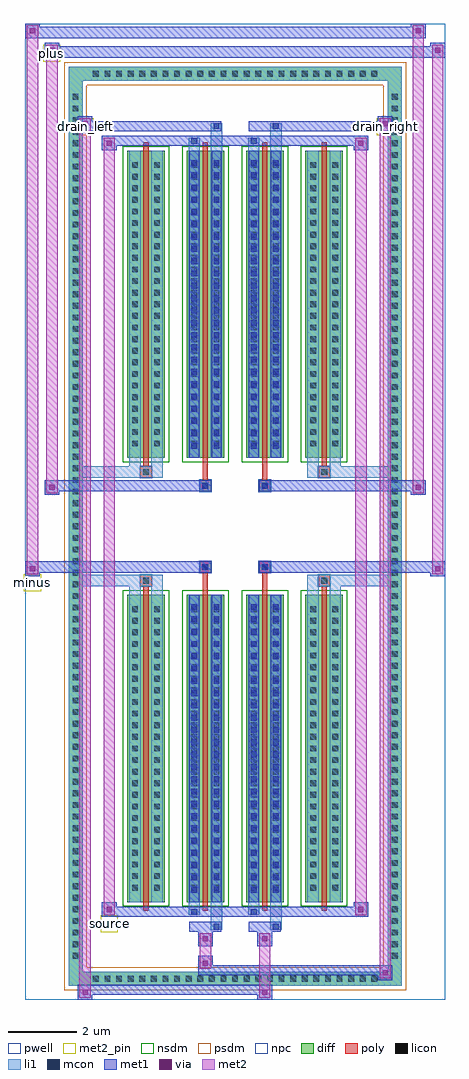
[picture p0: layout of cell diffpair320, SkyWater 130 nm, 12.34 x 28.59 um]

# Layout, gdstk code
import gdstk
lib = gdstk.Library(unit=1e-6, precision=5e-09)
def R(c, l, rs):  # rectangles x0, y0, x1, y1
    for r in rs: c.add(gdstk.rectangle(r[:2], r[2:], *l))
def A(c, l, x, y, w, h, nx, ny, dx, dy):  # array of equal rectangles
    R(c, l, [(x+i*dx, y+j*dy, x+i*dx+w, y+j*dy+h) for i in range(nx) for j in range(ny)])
def P(c, l, *ps):  # polygons
    for p in ps: c.add(gdstk.Polygon(p, *l))
pwell = (64, 44)
diff = (65, 20)
poly = (66, 20)
licon = (66, 44)
li1 = (67, 20)
mcon = (67, 44)
met1 = (68, 20)
via = (68, 44)
met2_pin = (69, 16)
met2 = (69, 20)
nsdm = (93, 44)
psdm = (94, 20)
npc = (95, 20)

diffpair320 = lib.new_cell('diffpair320')
R(diffpair320, pwell, [(-6.15,-13.86,6.15,14.73), (-3.47,-12.05,-0.01,-0.825), (0.01,-12.05,3.47,-0.825), (-3.47,0.825,-0.01,12.05), (0.01,0.825,3.47,12.05)])
A(diffpair320, diff, -4.285, -13.46, 0.41, 0.41, 25, 2, 0.34, 26.51)
A(diffpair320, diff, -4.88, -12.785, 0.41, 0.41, 1, 75, 0, 0.34)
A(diffpair320, diff, 4.47, -12.785, 0.41, 0.41, 1, 75, 0, 0.34)
A(diffpair320, diff, -3.16, -11.005, 1.1, 9, 4, 2, 1.74, 13.01)
R(diffpair320, diff, [(-4.285,-13.46,4.285,-13.05), (-4.88,-12.785,-4.47,12.785), (4.47,-12.785,4.88,12.785), (-4.285,13.05,4.285,13.46)])
P(diffpair320, diff, [(4.88,13.46),(-4.88,13.46),(-4.88,-13.05),(-4.47,-13.05),(-4.47,13.05),(4.47,13.05),(4.47,-13.05),(-4.47,-13.05),(-4.88,-13.05),(-4.88,-13.46),(4.88,-13.46)])
A(diffpair320, poly, -2.685, -11.255, 0.15, 9.5, 4, 2, 1.74, 13.01)
R(diffpair320, poly, [(-2.775,-1.755,-2.445,-1.425), (-2.775,-1.755,-2.445,-1.425), (-0.945,-1.755,-0.795,-1.355), (0.795,-1.755,0.945,-1.355), (2.445,-1.755,2.775,-1.425), (2.445,-1.755,2.775,-1.425), (-1.035,-1.355,-0.705,-1.025), (-1.035,-1.355,-0.705,-1.025), (0.705,-1.355,1.035,-1.025), (0.705,-1.355,1.035,-1.025), (-1.035,1.025,-0.705,1.355), (-1.035,1.025,-0.705,1.355), (0.705,1.025,1.035,1.355), (0.705,1.025,1.035,1.355), (-0.945,1.355,-0.795,1.755), (0.795,1.355,0.945,1.755), (-2.775,1.425,-2.445,1.755), (-2.775,1.425,-2.445,1.755), (2.445,1.425,2.775,1.755), (2.445,1.425,2.775,1.755)])
A(diffpair320, licon, -4.165, -13.34, 0.17, 0.17, 25, 2, 0.34, 26.51)
A(diffpair320, licon, -4.76, -12.665, 0.17, 0.17, 1, 75, 0, 0.34)
A(diffpair320, licon, 4.59, -12.665, 0.17, 0.17, 1, 75, 0, 0.34)
A(diffpair320, licon, -3.02, -10.67, 0.17, 0.17, 1, 25, 0, 0.34)
A(diffpair320, licon, -2.37, -10.67, 0.17, 0.17, 1, 25, 0, 0.34)
A(diffpair320, licon, -1.28, -10.67, 0.17, 0.17, 1, 25, 0, 0.34)
A(diffpair320, licon, -0.63, -10.67, 0.17, 0.17, 1, 25, 0, 0.34)
A(diffpair320, licon, 0.46, -10.67, 0.17, 0.17, 1, 25, 0, 0.34)
A(diffpair320, licon, 1.11, -10.67, 0.17, 0.17, 1, 25, 0, 0.34)
A(diffpair320, licon, 2.2, -10.67, 0.17, 0.17, 1, 25, 0, 0.34)
A(diffpair320, licon, 2.85, -10.67, 0.17, 0.17, 1, 25, 0, 0.34)
A(diffpair320, licon, -3.02, 2.34, 0.17, 0.17, 1, 25, 0, 0.34)
A(diffpair320, licon, -2.37, 2.34, 0.17, 0.17, 1, 25, 0, 0.34)
A(diffpair320, licon, -1.28, 2.34, 0.17, 0.17, 1, 25, 0, 0.34)
A(diffpair320, licon, -0.63, 2.34, 0.17, 0.17, 1, 25, 0, 0.34)
A(diffpair320, licon, 0.46, 2.34, 0.17, 0.17, 1, 25, 0, 0.34)
A(diffpair320, licon, 1.11, 2.34, 0.17, 0.17, 1, 25, 0, 0.34)
A(diffpair320, licon, 2.2, 2.34, 0.17, 0.17, 1, 25, 0, 0.34)
A(diffpair320, licon, 2.85, 2.34, 0.17, 0.17, 1, 25, 0, 0.34)
R(diffpair320, licon, [(-2.695,-1.675,-2.525,-1.505), (2.525,-1.675,2.695,-1.505), (-0.955,-1.275,-0.785,-1.105), (0.785,-1.275,0.955,-1.105), (-0.955,1.105,-0.785,1.275), (0.785,1.105,0.955,1.275), (-2.695,1.505,-2.525,1.675), (2.525,1.505,2.695,1.675)])
A(diffpair320, li1, -4.245, -13.42, 0.33, 0.33, 25, 2, 0.34, 26.51)
A(diffpair320, li1, -4.84, -12.745, 0.33, 0.33, 1, 75, 0, 0.34)
A(diffpair320, li1, 4.51, -12.745, 0.33, 0.33, 1, 75, 0, 0.34)
A(diffpair320, li1, -3.1, -10.75, 0.33, 0.33, 1, 25, 0, 0.34)
A(diffpair320, li1, -2.45, -10.75, 0.33, 0.33, 1, 25, 0, 0.34)
A(diffpair320, li1, -1.36, -10.75, 0.33, 0.33, 1, 25, 0, 0.34)
A(diffpair320, li1, -0.71, -10.75, 0.33, 0.33, 1, 25, 0, 0.34)
A(diffpair320, li1, 0.38, -10.75, 0.33, 0.33, 1, 25, 0, 0.34)
A(diffpair320, li1, 1.03, -10.75, 0.33, 0.33, 1, 25, 0, 0.34)
A(diffpair320, li1, 2.12, -10.75, 0.33, 0.33, 1, 25, 0, 0.34)
A(diffpair320, li1, 2.77, -10.75, 0.33, 0.33, 1, 25, 0, 0.34)
A(diffpair320, li1, -1.28, -10.73, 0.17, 0.17, 1, 24, 0, 0.36)
A(diffpair320, li1, -0.63, -10.73, 0.17, 0.17, 1, 24, 0, 0.36)
A(diffpair320, li1, 0.46, -10.73, 0.17, 0.17, 1, 24, 0, 0.36)
A(diffpair320, li1, 1.11, -10.73, 0.17, 0.17, 1, 24, 0, 0.36)
A(diffpair320, li1, -3.1, 2.26, 0.33, 0.33, 1, 25, 0, 0.34)
A(diffpair320, li1, -2.45, 2.26, 0.33, 0.33, 1, 25, 0, 0.34)
A(diffpair320, li1, -1.36, 2.26, 0.33, 0.33, 1, 25, 0, 0.34)
A(diffpair320, li1, -0.71, 2.26, 0.33, 0.33, 1, 25, 0, 0.34)
A(diffpair320, li1, 0.38, 2.26, 0.33, 0.33, 1, 25, 0, 0.34)
A(diffpair320, li1, 1.03, 2.26, 0.33, 0.33, 1, 25, 0, 0.34)
A(diffpair320, li1, 2.12, 2.26, 0.33, 0.33, 1, 25, 0, 0.34)
A(diffpair320, li1, 2.77, 2.26, 0.33, 0.33, 1, 25, 0, 0.34)
A(diffpair320, li1, -1.28, 2.28, 0.17, 0.17, 1, 24, 0, 0.36)
A(diffpair320, li1, -0.63, 2.28, 0.17, 0.17, 1, 24, 0, 0.36)
A(diffpair320, li1, 0.46, 2.28, 0.17, 0.17, 1, 24, 0, 0.36)
A(diffpair320, li1, 1.11, 2.28, 0.17, 0.17, 1, 24, 0, 0.36)
R(diffpair320, li1, [(-4.88,-13.46,-4.47,-13.05), (-4.88,-13.46,-4.47,-13.05), (-4.47,-13.46,4.47,-13.05), (4.47,-13.46,4.88,-13.05), (4.47,-13.46,4.88,-13.05), (-4.88,-13.05,-4.47,13.05), (4.47,-13.05,4.88,13.05), (-0.71,-11.81,-0.38,-11.005), (-0.63,-11.81,-0.46,-11.64), (1.03,-11.81,1.36,-11.005), (1.11,-11.81,1.28,-11.64), (-1.36,-11.38,-1.03,-11.005), (-1.28,-11.38,-1.11,-11.21), (0.38,-11.38,0.71,-11.005), (0.46,-11.38,0.63,-11.21), (-3.1,-11.005,-2.77,-2.005), (-2.45,-11.005,-2.12,-2.005), (-1.36,-11.005,-1.03,-2.005), (-0.71,-11.005,-0.38,-2.005), (0.38,-11.005,0.71,-2.005), (1.03,-11.005,1.36,-2.005), (2.12,-11.005,2.45,-2.005), (2.77,-11.005,3.1,-2.005), (-1.28,-10.73,-1.11,-2.28), (-0.63,-10.73,-0.46,-2.28), (0.46,-10.73,0.63,-2.28), (1.11,-10.73,1.28,-2.28), (-3.1,-2.005,-2.77,-1.425), (-2.45,-2.005,-2.12,-1.425), (2.12,-2.005,2.45,-1.425), (2.77,-2.005,3.1,-1.425), (-4.88,-1.755,-2.775,-1.425), (-3.1,-1.755,-2.775,-1.425), (-2.775,-1.755,-2.445,-1.425), (-2.445,-1.755,-2.12,-1.425), (2.12,-1.755,2.445,-1.425), (2.445,-1.755,2.775,-1.425), (2.445,-1.755,4.88,-1.425), (2.775,-1.755,3.1,-1.425), (-1.035,-1.355,-0.705,-1.025), (0.705,-1.355,1.035,-1.025), (-1.035,1.025,-0.705,1.355), (0.705,1.025,1.035,1.355), (-4.88,1.425,-2.775,1.755), (-3.1,1.425,-2.775,1.755), (-3.1,1.425,-2.77,2.005), (-2.775,1.425,-2.445,1.755), (-2.45,1.425,-2.12,2.005), (-2.445,1.425,-2.12,1.755), (2.12,1.425,2.445,1.755), (2.12,1.425,2.45,2.005), (2.445,1.425,2.775,1.755), (2.445,1.425,4.88,1.755), (2.77,1.425,3.1,2.005), (2.775,1.425,3.1,1.755), (-3.1,2.005,-2.77,11.005), (-2.45,2.005,-2.12,11.005), (-1.36,2.005,-1.03,11.005), (-0.71,2.005,-0.38,11.005), (0.38,2.005,0.71,11.005), (1.03,2.005,1.36,11.005), (2.12,2.005,2.45,11.005), (2.77,2.005,3.1,11.005), (-1.28,2.28,-1.11,10.73), (-0.63,2.28,-0.46,10.73), (0.46,2.28,0.63,10.73), (1.11,2.28,1.28,10.73), (-1.36,11.005,-1.03,11.38), (-0.71,11.005,-0.38,11.81), (0.38,11.005,0.71,11.38), (1.03,11.005,1.36,11.81), (-1.28,11.21,-1.11,11.38), (0.46,11.21,0.63,11.38), (-0.63,11.64,-0.46,11.81), (1.11,11.64,1.28,11.81), (-4.88,13.05,-4.47,13.46), (-4.88,13.05,-4.47,13.46), (-4.47,13.05,4.47,13.46), (4.47,13.05,4.88,13.46), (4.47,13.05,4.88,13.46)])
A(diffpair320, mcon, -1.28, -10.73, 0.17, 0.17, 1, 24, 0, 0.36)
A(diffpair320, mcon, -0.63, -10.73, 0.17, 0.17, 1, 24, 0, 0.36)
A(diffpair320, mcon, 0.46, -10.73, 0.17, 0.17, 1, 24, 0, 0.36)
A(diffpair320, mcon, 1.11, -10.73, 0.17, 0.17, 1, 24, 0, 0.36)
A(diffpair320, mcon, -1.28, 2.28, 0.17, 0.17, 1, 24, 0, 0.36)
A(diffpair320, mcon, -0.63, 2.28, 0.17, 0.17, 1, 24, 0, 0.36)
A(diffpair320, mcon, 0.46, 2.28, 0.17, 0.17, 1, 24, 0, 0.36)
A(diffpair320, mcon, 1.11, 2.28, 0.17, 0.17, 1, 24, 0, 0.36)
R(diffpair320, mcon, [(-0.63,-11.81,-0.46,-11.64), (1.11,-11.81,1.28,-11.64), (-1.28,-11.38,-1.11,-11.21), (0.46,-11.38,0.63,-11.21), (-0.955,-1.275,-0.785,-1.105), (0.785,-1.275,0.955,-1.105), (-0.955,1.105,-0.785,1.275), (0.785,1.105,0.955,1.275), (-1.28,11.21,-1.11,11.38), (0.46,11.21,0.63,11.38), (-0.63,11.64,-0.46,11.81), (1.11,11.64,1.28,11.81)])
A(diffpair320, met1, -1.34, -10.79, 0.29, 0.29, 1, 24, 0, 0.36)
A(diffpair320, met1, -0.69, -10.79, 0.29, 0.29, 1, 24, 0, 0.36)
A(diffpair320, met1, 0.4, -10.79, 0.29, 0.29, 1, 24, 0, 0.36)
A(diffpair320, met1, 1.05, -10.79, 0.29, 0.29, 1, 24, 0, 0.36)
A(diffpair320, met1, -1.34, 2.22, 0.29, 0.29, 1, 24, 0, 0.36)
A(diffpair320, met1, -0.69, 2.22, 0.29, 0.29, 1, 24, 0, 0.36)
A(diffpair320, met1, 0.4, 2.22, 0.29, 0.29, 1, 24, 0, 0.36)
A(diffpair320, met1, 1.05, 2.22, 0.29, 0.29, 1, 24, 0, 0.36)
R(diffpair320, met1, [(-4.61,-13.86,-4.18,-13.43), (0.655,-13.86,1.085,-13.43), (-4.61,-13.72,1.085,-13.43), (4.18,-13.29,4.61,-12.86), (-1.085,-13.15,4.61,-12.86), (-1.085,-13.01,-0.655,-12.58), (-1.085,-12.3,-0.655,-11.87), (0.655,-12.3,1.085,-11.87), (-1.34,-11.87,-0.4,-11.58), (-0.69,-11.87,-0.4,-11.58), (0.4,-11.87,1.34,-11.58), (1.05,-11.87,1.34,-11.58), (-3.9,-11.44,-3.47,-11.01), (-3.9,-11.44,-1.34,-11.15), (-1.34,-11.44,-1.05,-11.15), (-1.34,-11.44,-0.4,-11.15), (-0.4,-11.44,0.4,-11.15), (0.4,-11.44,0.69,-11.15), (0.4,-11.44,1.34,-11.15), (1.34,-11.44,3.9,-11.15), (3.47,-11.44,3.9,-11.01), (-1.34,-11.005,-1.05,-2.005), (-0.69,-11.005,-0.4,-2.005), (0.4,-11.005,0.69,-2.005), (1.05,-11.005,1.34,-2.005), (-6.15,-1.455,-5.72,-1.025), (5.72,-1.455,6.15,-1.025), (-6.15,-1.355,-0.705,-1.025), (-1.035,-1.355,-0.705,-1.025), (0.705,-1.355,1.035,-1.025), (0.705,-1.355,6.15,-1.025), (-1.015,-1.335,-0.725,-1.045), (0.725,-1.335,1.015,-1.045), (-5.58,0.925,-5.15,1.355), (5.15,0.925,5.58,1.355), (-5.58,1.025,-1.035,1.355), (-1.035,1.025,-0.705,1.355), (0.705,1.025,1.035,1.355), (1.035,1.025,5.58,1.355), (-1.015,1.045,-0.725,1.335), (0.725,1.045,1.015,1.335), (-1.34,2.005,-1.05,11.005), (-0.69,2.005,-0.4,11.005), (0.4,2.005,0.69,11.005), (1.05,2.005,1.34,11.005), (-3.9,11.01,-3.47,11.44), (3.47,11.01,3.9,11.44), (-3.9,11.15,-1.34,11.44), (-1.34,11.15,-1.05,11.44), (-1.34,11.15,-0.4,11.44), (-0.4,11.15,0.4,11.44), (0.4,11.15,0.69,11.44), (0.4,11.15,1.34,11.44), (1.34,11.15,3.9,11.44), (-4.61,11.58,-4.18,12.01), (-4.61,11.58,-1.34,11.87), (-1.34,11.58,-0.4,11.87), (-0.69,11.58,-0.4,11.87), (0.4,11.58,1.34,11.87), (1.05,11.58,1.34,11.87), (1.34,11.58,4.61,11.87), (4.18,11.58,4.61,12.01), (-5.58,13.73,-5.15,14.16), (-5.58,13.73,-3.47,14.06), (-3.47,13.73,3.47,14.06), (3.47,13.73,6.15,14.06), (5.72,13.73,6.15,14.16), (-6.15,14.3,-5.72,14.73), (-6.15,14.3,-3.47,14.63), (-3.47,14.3,3.47,14.63), (3.47,14.3,5.58,14.63), (5.15,14.3,5.58,14.73)])
R(diffpair320, via, [(-4.47,-13.72,-4.32,-13.57), (0.795,-13.72,0.945,-13.57), (4.32,-13.15,4.47,-13), (-0.945,-12.87,-0.795,-12.72), (-0.945,-12.16,-0.795,-12.01), (0.795,-12.16,0.945,-12.01), (-3.76,-11.3,-3.61,-11.15), (3.61,-11.3,3.76,-11.15), (-6.01,-1.315,-5.86,-1.165), (5.86,-1.315,6.01,-1.165), (-5.44,1.065,-5.29,1.215), (5.29,1.065,5.44,1.215), (-3.76,11.15,-3.61,11.3), (3.61,11.15,3.76,11.3), (-4.47,11.72,-4.32,11.87), (4.32,11.72,4.47,11.87), (-5.44,13.87,-5.29,14.02), (5.86,13.87,6.01,14.02), (-6.01,14.44,-5.86,14.59), (5.29,14.44,5.44,14.59)])
R(diffpair320, met2_pin, [(-3.935,-11.89,-3.435,-11.39), (-6.185,-1.905,-5.685,-1.405), (-4.645,11.46,-4.145,11.96), (4.145,11.46,4.645,11.96), (-5.615,13.61,-5.115,14.11)])
R(diffpair320, met2, [(-4.56,-13.81,-4.23,-13.48), (-4.56,-13.81,-4.23,11.96), (0.705,-13.81,1.035,-13.48), (0.705,-13.48,1.035,-12.25), (4.23,-13.24,4.56,-12.91), (4.23,-13.24,4.56,11.96), (-1.035,-12.96,-0.705,-12.63), (-1.035,-12.63,-0.705,-12.25), (-1.035,-12.25,-0.705,-11.92), (0.705,-12.25,1.035,-11.92), (-3.85,-11.39,-3.52,-11.06), (-3.85,-11.39,-3.52,11.39), (3.52,-11.39,3.85,-11.06), (3.52,-11.39,3.85,11.39), (-6.1,-1.405,-5.77,-1.075), (-6.1,-1.405,-5.77,14.68), (5.77,-1.405,6.1,-1.075), (5.77,-1.405,6.1,14.11), (-5.53,0.975,-5.2,1.305), (-5.53,0.975,-5.2,14.11), (5.2,0.975,5.53,1.305), (5.2,0.975,5.53,14.68), (-3.85,11.06,-3.52,11.39), (3.52,11.06,3.85,11.39), (-4.56,11.63,-4.23,11.96), (4.23,11.63,4.56,11.96), (-5.53,13.78,-5.2,14.11), (5.77,13.78,6.1,14.11), (-6.1,14.35,-5.77,14.68), (5.2,14.35,5.53,14.68)])
P(diffpair320, met2, [(6.1,-1.405),(6.1,-1.405),(6.1,-1.075),(6.1,-1.075)],
  [(6.1,13.78),(6.1,13.78),(6.1,14.11),(6.1,14.11)],
  [(-5.77,-1.405),(-5.77,-1.405),(-5.77,-1.075),(-5.77,-1.075)],
  [(-5.77,14.35),(-5.77,14.35),(-5.77,14.68),(-5.77,14.68)],
  [(5.53,0.975),(5.53,0.975),(5.53,1.305),(5.53,1.305)],
  [(5.53,14.35),(5.53,14.35),(5.53,14.68),(5.53,14.68)],
  [(-5.2,0.975),(-5.2,0.975),(-5.2,1.305),(-5.2,1.305)],
  [(-5.2,13.78),(-5.2,13.78),(-5.2,14.11),(-5.2,14.11)],
  [(-4.23,-13.81),(-4.23,-13.81),(-4.23,-13.48),(-4.23,-13.48)],
  [(-4.23,11.63),(-4.23,11.63),(-4.23,11.96),(-4.23,11.96)],
  [(4.56,-13.24),(4.56,-13.24),(4.56,-12.91),(4.56,-12.91)],
  [(4.56,11.63),(4.56,11.63),(4.56,11.96),(4.56,11.96)],
  [(-3.52,-11.39),(-3.52,-11.39),(-3.52,-11.06),(-3.52,-11.06)],
  [(-3.52,11.06),(-3.52,11.06),(-3.52,11.39),(-3.52,11.39)],
  [(3.85,-11.39),(3.85,-11.39),(3.85,-11.06),(3.85,-11.06)],
  [(3.85,11.06),(3.85,11.06),(3.85,11.39),(3.85,11.39)])
A(diffpair320, nsdm, -3.29, -11.135, 1.36, 9.26, 4, 2, 1.74, 13.01)
P(diffpair320, psdm, [(5.01,13.59),(-5.01,13.59),(-5.01,-12.92),(-4.34,-12.92),(-4.34,12.92),(4.34,12.92),(4.34,-12.92),(-4.34,-12.92),(-5.01,-12.92),(-5.01,-13.59),(5.01,-13.59)])
R(diffpair320, npc, [(-2.795,-1.775,-2.425,-1.405), (2.425,-1.775,2.795,-1.405), (-1.055,-1.375,-0.685,-1.005), (0.685,-1.375,1.055,-1.005), (-1.055,1.005,-0.685,1.375), (0.685,1.005,1.055,1.375), (-2.795,1.405,-2.425,1.775), (2.425,1.405,2.795,1.775)])
diffpair320.add(gdstk.Label('minus', (-5.935,-1.655), layer=69, texttype=5))
diffpair320.add(gdstk.Label('drain_right', (4.395,11.71), layer=69, texttype=5))
diffpair320.add(gdstk.Label('drain_left', (-4.395,11.71), layer=69, texttype=5))
diffpair320.add(gdstk.Label('source', (-3.685,-11.64), layer=69, texttype=5))
diffpair320.add(gdstk.Label('plus', (-5.365,13.86), layer=69, texttype=5))

lib.write_gds('diffpair320.gds')
